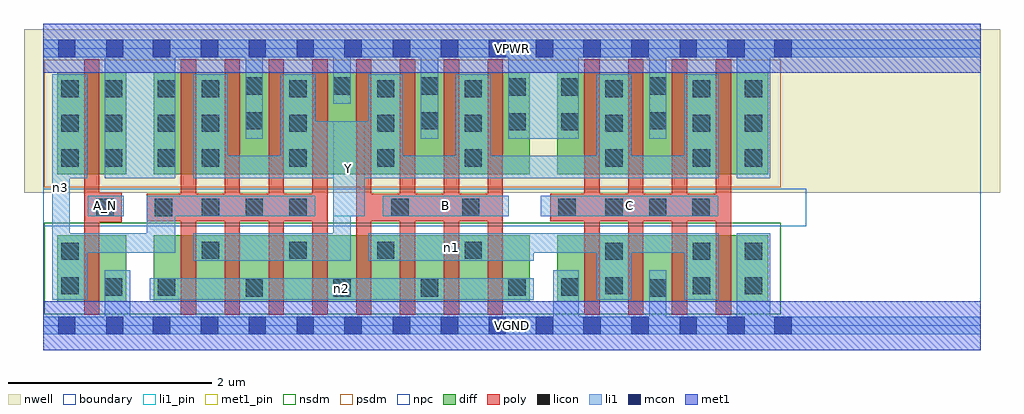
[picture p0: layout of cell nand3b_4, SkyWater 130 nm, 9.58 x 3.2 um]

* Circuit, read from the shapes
.subckt nand3b_4 A_N B C VGND VPWR Y n1 n2 n3
XM1 VGND A_N n3 VSUBS sky130_fd_pr__nfet_01v8 w=0.65 l=0.15
XM2 Y n3 n2 VSUBS sky130_fd_pr__nfet_01v8 w=0.65 l=0.15 m=4
XM3 n1 B n2 VSUBS sky130_fd_pr__nfet_01v8 w=0.65 l=0.15 m=4
XM4 n1 C VGND VSUBS sky130_fd_pr__nfet_01v8 w=0.65 l=0.15 m=4
XM5 VPWR A_N n3 n4 sky130_fd_pr__pfet_01v8 w=1 l=0.15
XM6 Y n3 VPWR n4 sky130_fd_pr__pfet_01v8 w=1 l=0.15 m=4
XM7 Y B VPWR n4 sky130_fd_pr__pfet_01v8 w=1 l=0.15 m=4
XM8 Y C VPWR n4 sky130_fd_pr__pfet_01v8 w=1 l=0.15 m=4
.ends

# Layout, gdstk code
import gdstk
lib = gdstk.Library(unit=1e-6, precision=1e-09)
def R(c, l, rs):  # rectangles x0, y0, x1, y1
    for r in rs: c.add(gdstk.rectangle(r[:2], r[2:], *l))
def A(c, l, x, y, w, h, nx, ny, dx, dy):  # array of equal rectangles
    R(c, l, [(x+i*dx, y+j*dy, x+i*dx+w, y+j*dy+h) for i in range(nx) for j in range(ny)])
nwell = (64, 20)
diff = (65, 20)
poly = (66, 20)
licon = (66, 44)
li1_pin = (67, 16)
li1 = (67, 20)
mcon = (67, 44)
met1_pin = (68, 16)
met1 = (68, 20)
nsdm = (93, 44)
psdm = (94, 20)
npc = (95, 20)
boundary = (235, 4)

nand3b_4 = lib.new_cell('nand3b_4')
R(nand3b_4, nwell, [(-0.19,1.305,9.39,2.91), (0,1.305,9.2,2.91)])
R(nand3b_4, diff, [(0.135,0.235,0.815,0.885), (1.085,0.235,4.775,0.885), (5.045,0.235,7.115,0.885), (0.135,1.485,0.815,2.485), (1.085,1.485,4.775,2.485), (5.045,1.485,7.115,2.485)])
A(nand3b_4, poly, 1.35, 0.105, 0.15, 2.51, 8, 1, 0.43, 0)
A(nand3b_4, poly, 5.31, 0.105, 0.15, 2.51, 4, 1, 0.43, 0)
R(nand3b_4, poly, [(0.4,0.105,0.55,2.615), (0.4,1.015,0.77,1.305), (1.015,1.025,2.79,1.295), (3.07,1.025,4.51,1.295), (4.975,1.025,6.75,1.295)])
A(nand3b_4, licon, 1.985, 0.285, 0.17, 0.17, 3, 2, 0.86, 1.98)
A(nand3b_4, licon, 1.555, 0.655, 0.17, 0.17, 4, 2, 0.86, 0.905)
A(nand3b_4, licon, 1.555, 1.075, 0.17, 0.17, 3, 1, 0.43, 0)
A(nand3b_4, licon, 0.175, 1.56, 0.17, 0.17, 1, 3, 0, 0.34)
A(nand3b_4, licon, 0.605, 1.56, 0.17, 0.17, 1, 3, 0, 0.34)
A(nand3b_4, licon, 1.125, 1.56, 0.17, 0.17, 1, 3, 0, 0.34)
A(nand3b_4, licon, 5.515, 1.56, 0.17, 0.17, 1, 3, 0, 0.34)
A(nand3b_4, licon, 6.375, 1.56, 0.17, 0.17, 1, 3, 0, 0.34)
A(nand3b_4, licon, 6.885, 1.56, 0.17, 0.17, 1, 3, 0, 0.34)
A(nand3b_4, licon, 1.555, 1.9, 0.17, 0.17, 4, 2, 0.86, 0.34)
R(nand3b_4, licon, [(5.945,0.285,6.115,0.455), (0.605,0.295,0.775,0.465), (1.125,0.295,1.295,0.465), (4.565,0.295,4.735,0.465), (5.085,0.295,5.255,0.465), (0.175,0.305,0.345,0.475), (5.515,0.305,5.685,0.475), (6.375,0.305,6.545,0.475), (6.885,0.305,7.055,0.475), (0.175,0.645,0.345,0.815), (5.515,0.645,5.685,0.815), (6.375,0.645,6.545,0.815), (6.885,0.645,7.055,0.815), (0.52,1.075,0.69,1.245), (1.095,1.075,1.265,1.245), (3.415,1.075,3.585,1.245), (4.11,1.075,4.28,1.245), (5.055,1.075,5.225,1.245), (5.515,1.075,5.685,1.245), (5.945,1.075,6.115,1.245), (6.37,1.075,6.54,1.245), (4.565,1.915,4.735,2.085), (5.085,1.915,5.255,2.085), (1.985,1.925,2.155,2.095), (3.705,1.925,3.875,2.095), (5.945,1.925,6.115,2.095), (4.565,2.255,4.735,2.425), (5.085,2.255,5.255,2.425), (5.945,2.265,6.115,2.435)])
R(nand3b_4, li1_pin, [(0.435,1.075,0.79,1.275), (2.845,1.075,3.155,2.005), (3.33,1.075,4.57,1.275), (4.88,1.075,6.625,1.275)])
A(nand3b_4, li1, 1.47, 1.445, 0.34, 1.02, 4, 1, 0.86, 0)
R(nand3b_4, li1, [(0,-0.085,9.2,0.085), (0.605,-0.085,0.855,0.545), (5.005,-0.085,5.255,0.545), (5.945,-0.085,6.115,0.545), (6.805,-0.085,7.135,0.905), (0.085,0.255,0.26,2.465), (0.085,0.255,0.43,0.905), (1.045,0.255,4.815,0.465), (5.43,0.255,5.77,0.905), (6.29,0.255,6.63,0.905), (1.47,0.635,3.015,0.905), (2.845,0.635,3.015,2.005), (3.19,0.635,4.815,0.905), (0.085,0.715,1.295,0.905), (1.015,0.715,1.295,1.275), (3.19,0.715,6.63,0.905), (0.435,1.075,0.79,1.275), (1.015,1.075,2.67,1.275), (2.845,1.075,3.155,2.005), (3.33,1.075,4.57,1.275), (4.88,1.075,6.625,1.275), (0.085,1.445,0.43,2.465), (0.605,1.445,1.295,2.805), (1.47,1.445,6.63,1.665), (2.33,1.445,3.53,2.005), (5.43,1.445,5.77,2.465), (6.29,1.445,6.63,2.465), (6.805,1.445,7.135,2.805), (1.985,1.835,2.155,2.805), (3.705,1.835,3.875,2.805), (4.565,1.835,5.255,2.805), (5.945,1.835,6.115,2.805), (2.845,2.175,3.015,2.805), (0,2.635,9.2,2.805)])
A(nand3b_4, mcon, 1.075, -0.085, 0.17, 0.17, 5, 2, 0.47, 2.72)
A(nand3b_4, mcon, 3.43, -0.085, 0.17, 0.17, 3, 2, 0.47, 2.72)
R(nand3b_4, mcon, [(0.145,-0.085,0.315,0.085), (0.615,-0.085,0.785,0.085), (4.835,-0.085,5.005,0.085), (5.3,-0.085,5.47,0.085), (5.77,-0.085,5.94,0.085), (6.245,-0.085,6.415,0.085), (6.715,-0.085,6.885,0.085), (7.175,-0.085,7.345,0.085), (0.145,2.635,0.315,2.805), (0.615,2.635,0.785,2.805), (4.835,2.635,5.005,2.805), (5.3,2.635,5.47,2.805), (5.77,2.635,5.94,2.805), (6.245,2.635,6.415,2.805), (6.715,2.635,6.885,2.805), (7.175,2.635,7.345,2.805)])
R(nand3b_4, met1_pin, [(0,-0.24,9.2,0.24), (0,2.48,9.2,2.96)])
R(nand3b_4, met1, [(0,-0.24,9.2,0.24), (0,2.48,9.2,2.96)])
R(nand3b_4, nsdm, [(0.01,0.11,7.24,1.01)])
R(nand3b_4, psdm, [(0.01,1.36,7.24,2.61)])
R(nand3b_4, npc, [(0,0.975,7.49,1.345)])
R(nand3b_4, boundary, [(0,0,9.2,2.72)])
nand3b_4.add(gdstk.Label('A_N', (0.612,1.175), layer=67, texttype=5))
nand3b_4.add(gdstk.Label('B', (3.95,1.175), layer=67, texttype=5))
nand3b_4.add(gdstk.Label('C', (5.752,1.175), layer=67, texttype=5))
nand3b_4.add(gdstk.Label('Y', (3,1.54), layer=67, texttype=5))
nand3b_4.add(gdstk.Label('n2', (2.93,0.36), layer=67, texttype=5))
nand3b_4.add(gdstk.Label('n1', (4.002,0.77), layer=67, texttype=5))
nand3b_4.add(gdstk.Label('n3', (0.172,1.36), layer=67, texttype=5))
nand3b_4.add(gdstk.Label('VPWR', (4.6,2.72), layer=68, texttype=5))
nand3b_4.add(gdstk.Label('VGND', (4.6,0), layer=68, texttype=5))
nand3b_4.add(gdstk.Label('A_N', (0.612,1.175), layer=67, texttype=16))
nand3b_4.add(gdstk.Label('B', (3.95,1.175), layer=67, texttype=16))
nand3b_4.add(gdstk.Label('C', (5.752,1.175), layer=67, texttype=16))
nand3b_4.add(gdstk.Label('Y', (3,1.54), layer=67, texttype=16))
nand3b_4.add(gdstk.Label('VPWR', (4.6,2.72), layer=68, texttype=16))
nand3b_4.add(gdstk.Label('VGND', (4.6,0), layer=68, texttype=16))

lib.write_gds('nand3b_4.gds')
